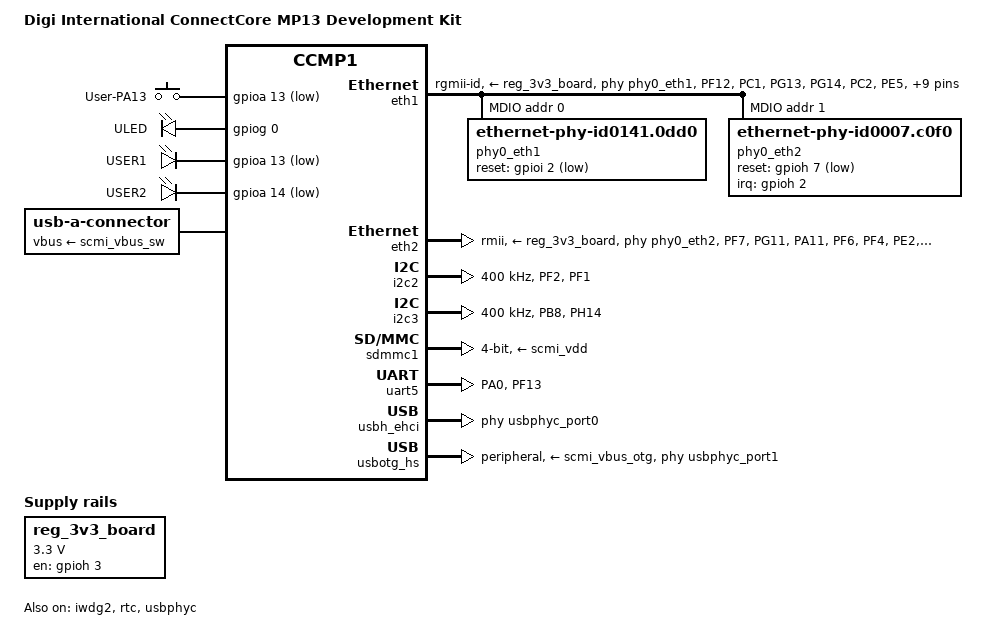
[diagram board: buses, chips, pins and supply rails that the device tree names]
// SPDX-License-Identifier: (GPL-2.0+ OR BSD-3-Clause)
/*
 * Copyright (C) 2022-2024 Digi International Inc - All Rights Reserved
 */


#include <dt-bindings/gpio/gpio.h>
#include <dt-bindings/input/input.h>
#include <dt-bindings/leds/common.h>
#include <dt-bindings/rtc/rtc-stm32.h>
#include "ccmp13.dtsi"

/ {
	model = "Digi International ConnectCore MP13 Development Kit";
	compatible = "digi,ccmp13-dvk", "digi,ccmp13", "digi,ccmp1";

	aliases {
		ethernet0 = &eth1;
		ethernet1 = &eth2;
		serial0 = &uart5;
		i2c2 = &i2c2;
		i2c3 = &i2c3;
	};

	chosen {
		#address-cells = <1>;
		#size-cells = <1>;
		ranges;
		stdout-path = "serial0:115200n8";
	};

	regulators {
		compatible = "simple-bus";
		#address-cells = <1>;
		#size-cells = <0>;

		reg_3v3_board: regulator@1 {
			compatible = "regulator-fixed";
			reg = <1>;
			regulator-name = "3v3_board";
			regulator-min-microvolt = <3300000>;
			regulator-max-microvolt = <3300000>;
			regulator-always-on;
			gpio = <&gpioh 3 GPIO_ACTIVE_HIGH>;
			enable-active-high;
			status = "okay";
		};
	};

	gpio-keys {
		compatible = "gpio-keys";

		user-pa13 {
			label = "User-PA13";
			linux,code = <BTN_1>;
			gpios = <&gpioa 13 (GPIO_ACTIVE_LOW | GPIO_PULL_UP)>;
		};
	};

	leds {
		compatible = "gpio-leds";

		uled {
			label = "ULED";
			gpios = <&gpiog 0 GPIO_ACTIVE_HIGH>;
			default-state = "off";
		};

		user1 {
			label = "USER1";
			gpios = <&gpioa 13 GPIO_ACTIVE_LOW>;
			default-state = "off";
		};

		user2 {
			label = "USER2";
			gpios = <&gpioa 14 GPIO_ACTIVE_LOW>;
			default-state = "off";
		};
	};
};

/* 10/100/1000 Ethernet */
&eth1 {
	status = "okay";
	pinctrl-0 = <&ccmp13_eth1_rgmii_pins>;
	pinctrl-1 = <&ccmp13_eth1_rgmii_sleep_pins>;
	pinctrl-names = "default", "sleep";
	phy-mode = "rgmii-id";
	max-speed = <1000>;
	phy-handle = <&phy0_eth1>;
	phy-supply = <&reg_3v3_board>;

	mdio1 {
		#address-cells = <1>;
		#size-cells = <0>;
		compatible = "snps,dwmac-mdio";

		phy0_eth1: ethernet-phy@0 {
			reg = <0>;
			compatible = "ethernet-phy-id0141.0dd0"; /* PHY ID for Marvell 88E1512 */
			reset-gpios = <&gpioi 2 (GPIO_ACTIVE_LOW | GPIO_PULL_UP)>;
			reset-assert-us = <1000>;
			reset-deassert-us = <2000>;
		};

		phy0_eth2: ethernet-phy@1 {
			reg = <1>;
			compatible = "ethernet-phy-id0007.c0f0"; /* PHY ID for SMSC LAN8720Ai */
			reset-gpios = <&gpioh 7 (GPIO_ACTIVE_LOW | GPIO_PULL_UP)>;
			interrupt-parent = <&gpioh>;
			interrupts = <2 IRQ_TYPE_LEVEL_LOW>;
		};
	};
};

/* 10/100 Ethernet */
&eth2 {
	status = "okay";
	pinctrl-0 = <&ccmp13_eth2_rmii_pins>;
	pinctrl-1 = <&ccmp13_eth2_rmii_sleep_pins>;
	pinctrl-names = "default", "sleep";
	phy-mode = "rmii";
	max-speed = <100>;
	phy-handle = <&phy0_eth2>;
	st,ext-phyclk;
	phy-supply = <&reg_3v3_board>;
};

&i2c2 {
	pinctrl-names = "default", "sleep";
	pinctrl-0 = <&ccmp13_i2c2_pins_a>;
	pinctrl-1 = <&ccmp13_i2c2_sleep_pins_a>;
	i2c-scl-rising-time-ns = <170>;
	i2c-scl-falling-time-ns = <5>;
	clock-frequency = <400000>;
	status = "okay";
	/* spare dmas for other usage */
	/delete-property/dmas;
	/delete-property/dma-names;
};

&i2c3 {
	pinctrl-names = "default", "sleep";
	pinctrl-0 = <&ccmp13_i2c3_pins_a>;
	pinctrl-1 = <&ccmp13_i2c3_sleep_pins_a>;
	i2c-scl-rising-time-ns = <170>;
	i2c-scl-falling-time-ns = <5>;
	clock-frequency = <400000>;
	status = "okay";
	/* spare dmas for other usage */
	/delete-property/dmas;
	/delete-property/dma-names;
};

&iwdg2 {
	timeout-sec = <32>;
	status = "okay";
};


&rtc {
	st,lsco = <RTC_OUT2_RMP>;
	pinctrl-0 = <&rtc_out2_rmp_pins_a>;
	pinctrl-names = "default";
	status = "okay";
};

&scmi_regu {
	scmi_vdd: voltd-vdd {
		voltd-name = "vdd";
		regulator-name = "vdd";
		regulator-always-on;
	};
	scmi_vdd_adc: voltd-vdd_adc {
		voltd-name = "vdd_adc";
		regulator-name = "vdd_adc";
	};
	scmi_ldo2: voltd-ldo2 {
		voltd-name = "ldo2";
		regulator-name = "ldo2";
	};
	scmi_vdd_usb: voltd-vdd_usb {
		voltd-name = "vdd_usb";
		regulator-name = "vdd_usb";
	};
	scmi_vdd_sd: voltd-vdd_sd {
		voltd-name = "vdd_sd";
		regulator-name = "vdd_sd";
	};
	scmi_ldo6: voltd-ldo6 {
		voltd-name = "ldo6";
		regulator-name = "ldo6";
	};
	scmi_vbus_otg: voltd-vbus_otg {
		voltd-name = "vbus_otg";
		regulator-name = "vbus_otg";
	};
	scmi_vbus_sw: voltd-vbus_sw {
		voltd-name = "vbus_sw";
		regulator-name = "vbus_sw";
	};
};

/* Micro SD */
&sdmmc1 {
	pinctrl-names = "default", "opendrain", "sleep";
	pinctrl-0 = <&sdmmc1_b4_pins_a &sdmmc1_clk_pins_a>;
	pinctrl-1 = <&sdmmc1_b4_od_pins_a &sdmmc1_clk_pins_a>;
	pinctrl-2 = <&sdmmc1_b4_sleep_pins_a>;
	broken-cd;
	disable-wp;
	st,neg-edge;
	bus-width = <4>;
	no-1-8-v;
	vmmc-supply = <&scmi_vdd>;
	vqmmc-supply = <&scmi_vdd_sd>;
	status = "okay";
};

&spi5 {
	pinctrl-names = "default", "sleep";
	pinctrl-0 = <&spi5_pins_a>;
	pinctrl-1 = <&spi5_sleep_pins_a>;
	status = "disabled";
};

&timers3 {
	/delete-property/dmas;
	/delete-property/dma-names;
	status = "disabled";
	pwm {
		pinctrl-0 = <&pwm3_pins_a>;
		pinctrl-1 = <&pwm3_sleep_pins_a>;
		pinctrl-names = "default", "sleep";
		status = "okay";
	};
	timer@2 {
		status = "okay";
	};
};

&timers4 {
	/delete-property/dmas;
	/delete-property/dma-names;
	status = "disabled";
	pwm {
		pinctrl-0 = <&pwm4_pins_a>;
		pinctrl-1 = <&pwm4_sleep_pins_a>;
		pinctrl-names = "default", "sleep";
		status = "okay";
	};
	timer@3 {
		status = "okay";
	};
};

&timers8 {
	/delete-property/dmas;
	/delete-property/dma-names;
	status = "disabled";
	pwm {
		pinctrl-0 = <&pwm8_pins_a>;
		pinctrl-1 = <&pwm8_sleep_pins_a>;
		pinctrl-names = "default", "sleep";
		status = "okay";
	};
	timer@7 {
		status = "okay";
	};
};

&timers14 {
	status = "disabled";
	pwm {
		pinctrl-0 = <&pwm14_pins_a>;
		pinctrl-1 = <&pwm14_sleep_pins_a>;
		pinctrl-names = "default", "sleep";
		status = "okay";
	};
	timer@13 {
		status = "okay";
	};
};

/* Console on UART5 */
&uart5 {
	pinctrl-names = "default", "sleep", "idle";
	pinctrl-0 = <&uart5_pins_a>;
	pinctrl-1 = <&uart5_sleep_pins_a>;
	pinctrl-2 = <&uart5_idle_pins_a>;
	/delete-property/dmas;
	/delete-property/dma-names;
	status = "okay";
};

&usbh_ehci {
	phys = <&usbphyc_port0>;
	status = "okay";
};

&usbotg_hs {
	u-boot,force-b-session-valid;
	dr_mode = "peripheral";
	phys = <&usbphyc_port1 0>;
	phy-names = "usb2-phy";
	vbus-supply = <&scmi_vbus_otg>;
	status = "okay";
};

&usbphyc {
	status = "okay";
};

&usbphyc_port0 {
	phy-supply = <&scmi_vdd_usb>;
	st,current-boost-microamp = <1000>;
	st,decrease-hs-slew-rate;
	st,tune-hs-dc-level = <2>;
	st,enable-hs-rftime-reduction;
	st,trim-hs-current = <11>;
	st,trim-hs-impedance = <2>;
	st,tune-squelch-level = <1>;
	st,enable-hs-rx-gain-eq;
	st,no-hs-ftime-ctrl;
	st,no-lsfs-sc;

	/*
	 * Hack to keep hub active if wakeup source is enabled
	 * otherwise the hub will wakeup the port0 as soon as the vbus_sw is disabled
	 */
	connector {
		compatible = "usb-a-connector";
		vbus-supply = <&scmi_vbus_sw>;
	};
};

&usbphyc_port1 {
	phy-supply = <&scmi_vdd_usb>;
	st,current-boost-microamp = <1000>;
	st,decrease-hs-slew-rate;
	st,tune-hs-dc-level = <2>;
	st,enable-hs-rftime-reduction;
	st,trim-hs-current = <11>;
	st,trim-hs-impedance = <2>;
	st,tune-squelch-level = <1>;
	st,enable-hs-rx-gain-eq;
	st,no-hs-ftime-ctrl;
	st,no-lsfs-sc;
};

&pinctrl {
	ccmp13_i2c2_pins_a: ccmp13_i2c2-0 {
		pins {
			pinmux = <STM32_PINMUX('F', 2, AF4)>, /* I2C2_SCL */
				 <STM32_PINMUX('F', 1, AF4)>; /* I2C2_SDA */
			bias-disable;
			drive-open-drain;
			slew-rate = <0>;
		};
	};

	ccmp13_i2c2_sleep_pins_a: ccmp13_i2c2-sleep-0 {
		pins {
			pinmux = <STM32_PINMUX('F', 2, ANALOG)>, /* I2C2_SCL */
				 <STM32_PINMUX('F', 1, ANALOG)>; /* I2C2_SDA */
		};
	};

	ccmp13_i2c3_pins_a: ccmp13_i2c3-0 {
		pins {
			pinmux = <STM32_PINMUX('B', 8, AF5)>, /* I2C3_SCL */
				 <STM32_PINMUX('H', 14, AF4)>; /* I2C3_SDA */
			bias-disable;
			drive-open-drain;
			slew-rate = <0>;
		};
	};

	ccmp13_i2c3_sleep_pins_a: ccmp13_i2c3-sleep-0 {
		pins {
			pinmux = <STM32_PINMUX('B', 8, ANALOG)>, /* I2C3_SCL */
				 <STM32_PINMUX('H', 14, ANALOG)>; /* I2C3_SDA */
		};
	};

	ccmp13_eth1_rgmii_pins: ccmp13-eth1-rgmii-1 {
		pins1 {
			pinmux = <STM32_PINMUX('F', 12, AF11)>, /* ETH1_CLK125 */
				 <STM32_PINMUX('C', 1,  AF11)>, /* ETH1_GTX_CLK */
				 <STM32_PINMUX('G', 13, AF11)>, /* ETH1_TXD0 */
				 <STM32_PINMUX('G', 14, AF11)>, /* ETH1_TXD1 */
				 <STM32_PINMUX('C', 2,  AF11)>, /* ETH1_TXD2 */
				 <STM32_PINMUX('E', 5,  AF10)>, /* ETH1_TXD3 */
				 <STM32_PINMUX('B', 11, AF11)>, /* ETH1_TX_EN */
				 <STM32_PINMUX('G', 2,  AF11)>; /* ETH1_MDC */
			bias-disable;
			drive-push-pull;
			slew-rate = <2>;
		};
		pins2 {
			pinmux = <STM32_PINMUX('A', 2, AF11)>; /* ETH1_MDIO */
			bias-disable;
			drive-push-pull;
			slew-rate = <0>;
		};
		pins3 {
			pinmux = <STM32_PINMUX('C', 4, AF11)>, /* ETH1_RXD0 */
				 <STM32_PINMUX('C', 5, AF11)>, /* ETH1_RXD1 */
				 <STM32_PINMUX('B', 0, AF11)>, /* ETH1_RXD2 */
				 <STM32_PINMUX('B', 1, AF11)>, /* ETH1_RXD3 */
				 <STM32_PINMUX('D', 7, AF10)>, /* ETH1_REF_CLK */
				 <STM32_PINMUX('A', 7, AF11)>; /* ETH1_RX_DV */
			bias-disable;
		};
	};

	ccmp13_eth1_rgmii_sleep_pins: ccmp13-eth1-rgmii-sleep-1 {
		pins1 {
			pinmux = <STM32_PINMUX('F', 12, ANALOG)>, /* ETH1_CLK125 */
				 <STM32_PINMUX('C', 1,  ANALOG)>, /* ETH1_GTX_CLK */
				 <STM32_PINMUX('G', 13, ANALOG)>, /* ETH1_TXD0 */
				 <STM32_PINMUX('G', 14, ANALOG)>, /* ETH1_TXD1 */
				 <STM32_PINMUX('C', 2,  ANALOG)>, /* ETH1_TXD2 */
				 <STM32_PINMUX('E', 5,  ANALOG)>, /* ETH1_TXD3 */
				 <STM32_PINMUX('B', 11, ANALOG)>, /* ETH1_TX_EN */
				 <STM32_PINMUX('G', 2,  ANALOG)>, /* ETH1_MDC */
				 <STM32_PINMUX('A', 2,  ANALOG)>, /* ETH1_MDIO */
				 <STM32_PINMUX('C', 4,  ANALOG)>, /* ETH1_RXD0 */
				 <STM32_PINMUX('C', 5,  ANALOG)>, /* ETH1_RXD1 */
				 <STM32_PINMUX('B', 0,  ANALOG)>, /* ETH1_RXD2 */
				 <STM32_PINMUX('B', 1,  ANALOG)>, /* ETH1_RXD3 */
				 <STM32_PINMUX('D', 7,  ANALOG)>, /* ETH1_REF_CLK */
				 <STM32_PINMUX('A', 7,  ANALOG)>; /* ETH1_RX_DV */
		 };
	};

	ccmp13_eth2_rmii_pins: ccmp13-eth2-rmii-1 {
		pins1 {
			pinmux = <STM32_PINMUX('F', 7,  AF11)>, /* ETH2_TXD0 */
				 <STM32_PINMUX('G', 11, AF10)>, /* ETH2_TXD1 */
				 <STM32_PINMUX('A', 11, AF13)>, /* ETH2_CLK */
				 <STM32_PINMUX('F', 6,  AF11)>; /* ETH2_TX_EN */
			bias-disable;
			drive-push-pull;
			slew-rate = <1>;
		};

		pins2 {
			pinmux = <STM32_PINMUX('F', 4,  AF11)>, /* ETH2_RXD0 */
				 <STM32_PINMUX('E', 2,  AF10)>, /* ETH2_RXD1 */
				 <STM32_PINMUX('A', 12, AF11)>, /* ETH2_RX_DV */
				 <STM32_PINMUX('F', 11, AF12)>; /* ETH2_RX_ER */
			bias-disable;
		};
	};

	ccmp13_eth2_rmii_sleep_pins: ccmp13-eth2-rmii-sleep-1 {
		pins1 {
			pinmux = <STM32_PINMUX('F', 7,  ANALOG)>, /* ETH2_TXD0 */
				 <STM32_PINMUX('G', 11, ANALOG)>, /* ETH2_TXD1 */
				 <STM32_PINMUX('A', 11, ANALOG)>, /* ETH2_CLK */
				 <STM32_PINMUX('F', 6,  ANALOG)>, /* ETH2_TX_EN */
				 <STM32_PINMUX('F', 4,  ANALOG)>, /* ETH2_RXD0 */
				 <STM32_PINMUX('E', 2,  ANALOG)>, /* ETH2_RXD1 */
				 <STM32_PINMUX('A', 12, ANALOG)>, /* ETH2_RX_DV */
				 <STM32_PINMUX('F', 11, ANALOG)>; /* ETH2_RX_ER */
		};
	};

	uart5_pins_a: uart5-0 {
		pins1 {
			pinmux = <STM32_PINMUX('A', 0, AF8)>; /* UART5_TX */
			bias-disable;
			drive-push-pull;
			slew-rate = <0>;
		};
		pins2 {
			pinmux = <STM32_PINMUX('F', 13, AF8)>; /* UART5_RX */
			bias-pull-up;
		};
	};

	uart5_idle_pins_a: uart5-idle-0 {
		pins1 {
			pinmux = <STM32_PINMUX('A', 0, ANALOG)>; /* UART5_TX */
		};
		pins2 {
			pinmux = <STM32_PINMUX('F', 13, AF8)>; /* UART5_RX */
			bias-disable;
		};
	};

	uart5_sleep_pins_a: uart5-sleep-0 {
		pins {
			pinmux = <STM32_PINMUX('A', 0, ANALOG)>, /* UART5_TX */
				 <STM32_PINMUX('F', 13, ANALOG)>; /* UART5_RX */
		};
	};
};
